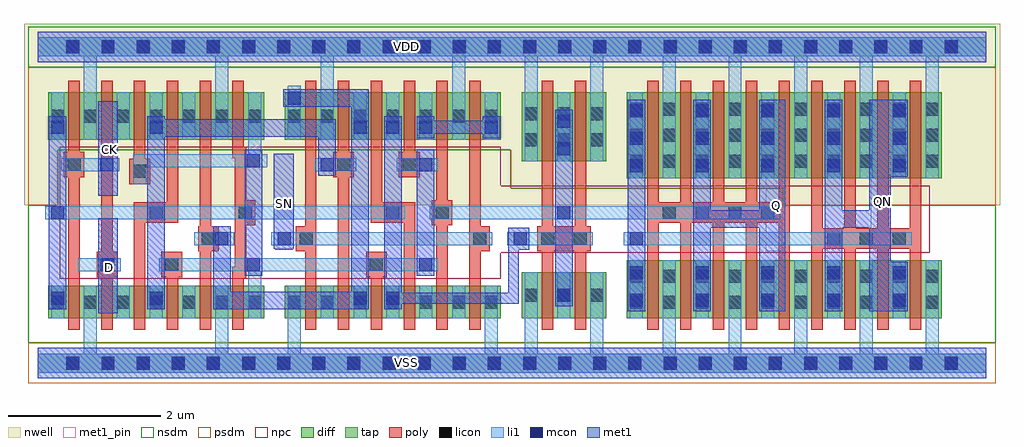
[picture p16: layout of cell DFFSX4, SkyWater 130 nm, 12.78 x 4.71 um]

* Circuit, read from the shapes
.subckt DFFSX4 CK D Q QN SN VDD VSS
XM1 VSS CK n1 VSS sky130_fd_pr__nfet_01v8 w=0.425 l=0.15
XM2 n2 D VSS VSS sky130_fd_pr__nfet_01v8 w=0.425 l=0.15
XM3 n3 n1 n2 VSS sky130_fd_pr__nfet_01v8 w=0.425 l=0.15
XM4 n4 n5 n3 VSS sky130_fd_pr__nfet_01v8 w=0.425 l=0.15
XM5 VSS n6 n4 VSS sky130_fd_pr__nfet_01v8 w=0.425 l=0.15
XM6 n5 n1 VSS VSS sky130_fd_pr__nfet_01v8 w=0.425 l=0.15
XM7 n7 SN VSS VSS sky130_fd_pr__nfet_01v8 w=0.425 l=0.15
XM8 n6 n3 n7 VSS sky130_fd_pr__nfet_01v8 w=0.425 l=0.15
XM9 n8 n5 n6 VSS sky130_fd_pr__nfet_01v8 w=0.425 l=0.15
XM10 n9 n1 n8 VSS sky130_fd_pr__nfet_01v8 w=0.425 l=0.15
XM11 n10 n11 n9 VSS sky130_fd_pr__nfet_01v8 w=0.425 l=0.15
XM12 VSS SN n10 VSS sky130_fd_pr__nfet_01v8 w=0.425 l=0.15
XM13 n11 n8 VSS VSS sky130_fd_pr__nfet_01v8 w=0.6 l=0.15 m=2
XM14 VSS n11 n12 VSS sky130_fd_pr__nfet_01v8 w=0.76 l=0.15
XM15 Q n11 VSS VSS sky130_fd_pr__nfet_01v8 w=0.76 l=0.15 m=4
XM16 QN n12 VSS VSS sky130_fd_pr__nfet_01v8 w=0.76 l=0.15 m=4
XM17 VDD CK n1 VDD sky130_fd_pr__pfet_01v8 w=0.625 l=0.15
XM18 n13 D VDD VDD sky130_fd_pr__pfet_01v8 w=0.625 l=0.15
XM19 n3 n5 n13 VDD sky130_fd_pr__pfet_01v8 w=0.625 l=0.15
XM20 n14 n1 n3 VDD sky130_fd_pr__pfet_01v8 w=0.625 l=0.15
XM21 VDD n6 n14 VDD sky130_fd_pr__pfet_01v8 w=0.625 l=0.15
XM22 n5 n1 VDD VDD sky130_fd_pr__pfet_01v8 w=0.625 l=0.15
XM23 VDD SN n6 VDD sky130_fd_pr__pfet_01v8 w=0.625 l=0.15
XM24 n6 n3 VDD VDD sky130_fd_pr__pfet_01v8 w=0.625 l=0.15
XM25 n8 n1 n6 VDD sky130_fd_pr__pfet_01v8 w=0.625 l=0.15
XM26 n15 n5 n8 VDD sky130_fd_pr__pfet_01v8 w=0.625 l=0.15
XM27 VDD n11 n15 VDD sky130_fd_pr__pfet_01v8 w=0.625 l=0.15
XM28 n15 SN VDD VDD sky130_fd_pr__pfet_01v8 w=0.625 l=0.15
XM29 n11 n8 VDD VDD sky130_fd_pr__pfet_01v8 w=0.905 l=0.15 m=2
XM30 VDD n11 n12 VDD sky130_fd_pr__pfet_01v8 w=1.13 l=0.15
XM31 Q n11 VDD VDD sky130_fd_pr__pfet_01v8 w=1.13 l=0.15 m=4
XM32 QN n12 VDD VDD sky130_fd_pr__pfet_01v8 w=1.13 l=0.15 m=4
.ends

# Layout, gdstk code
from math import pi, radians
import gdstk
lib = gdstk.Library(unit=1e-6, precision=1e-09)
def R(c, l, rs):  # rectangles x0, y0, x1, y1
    for r in rs: c.add(gdstk.rectangle(r[:2], r[2:], *l))
def A(c, l, x, y, w, h, nx, ny, dx, dy):  # array of equal rectangles
    R(c, l, [(x+i*dx, y+j*dy, x+i*dx+w, y+j*dy+h) for i in range(nx) for j in range(ny)])
def P(c, l, *ps):  # polygons
    for p in ps: c.add(gdstk.Polygon(p, *l))
nwell = (64, 20)
diff = (65, 20)
tap = (65, 44)
poly = (66, 20)
licon = (66, 44)
li1 = (67, 20)
mcon = (67, 44)
met1_pin = (68, 16)
met1 = (68, 20)
nsdm = (93, 44)
psdm = (94, 20)
npc = (95, 20)

licondiff_c_cdns_7515547 = lib.new_cell('LICONDIFF_C_CDNS_751554744755')
R(licondiff_c_cdns_7515547, diff, [(-0.125,-0.145,0.125,0.145)])
R(licondiff_c_cdns_7515547, licon, [(-0.085,-0.085,0.085,0.085), (-0.085,-0.085,0.085,0.085)])

pyl1con_c_cdns_751554744 = lib.new_cell('PYL1CON_C_CDNS_751554744751')
R(pyl1con_c_cdns_751554744, poly, [(-0.135,-0.165,0.135,0.165)])
R(pyl1con_c_cdns_751554744, licon, [(-0.085,-0.085,0.085,0.085)])
R(pyl1con_c_cdns_751554744, npc, [(-0.185,-0.185,0.185,0.185)])

c_pyl1con_c_cdns_751554744 = lib.new_cell('PYL1CON_C_CDNS_751554744754')
R(c_pyl1con_c_cdns_751554744, poly, [(-0.135,-0.29,0.135,0.29)])
R(c_pyl1con_c_cdns_751554744, licon, [(-0.085,-0.085,0.085,0.085)])
R(c_pyl1con_c_cdns_751554744, npc, [(-0.185,-0.185,0.185,0.185)])

l1m1_c_cdns_751554744750 = lib.new_cell('L1M1_C_CDNS_751554744750$$20')
R(l1m1_c_cdns_751554744750, li1, [(-0.125,-0.085,0.125,0.085)])
R(l1m1_c_cdns_751554744750, mcon, [(-0.085,-0.085,0.085,0.085)])
R(l1m1_c_cdns_751554744750, met1, [(-0.115,-0.145,0.115,0.145)])

c_l1m1_c_cdns_751554744750 = lib.new_cell('L1M1_C_CDNS_751554744750$$8')
R(c_l1m1_c_cdns_751554744750, li1, [(-0.085,-0.165,0.085,0.165)])
R(c_l1m1_c_cdns_751554744750, mcon, [(-0.085,-0.085,0.085,0.085)])
R(c_l1m1_c_cdns_751554744750, met1, [(-0.115,-0.145,0.115,0.145)])

c_l1m1_c_cdns_751554744750_ = lib.new_cell('L1M1_C_CDNS_751554744750$$9')
R(c_l1m1_c_cdns_751554744750_, li1, [(-0.165,-0.085,0.165,0.085)])
R(c_l1m1_c_cdns_751554744750_, mcon, [(-0.085,-0.085,0.085,0.085)])
R(c_l1m1_c_cdns_751554744750_, met1, [(-0.115,-0.145,0.115,0.145)])

c_l1m1_c_cdns_751554744750__ = lib.new_cell('L1M1_C_CDNS_751554744750$$11')
R(c_l1m1_c_cdns_751554744750__, li1, [(-0.085,-0.525,0.085,0.525)])
A(c_l1m1_c_cdns_751554744750__, mcon, -0.085, -0.445, 0.17, 0.17, 1, 3, 0, 0.36)
R(c_l1m1_c_cdns_751554744750__, met1, [(-0.115,-0.505,0.115,0.505)])

c_l1m1_c_cdns_751554744750___ = lib.new_cell('L1M1_C_CDNS_751554744750$$7')
R(c_l1m1_c_cdns_751554744750___, li1, [(-0.085,-0.345,0.085,0.345)])
R(c_l1m1_c_cdns_751554744750___, mcon, [(-0.085,-0.265,0.085,-0.095), (-0.085,0.095,0.085,0.265)])
R(c_l1m1_c_cdns_751554744750___, met1, [(-0.115,-0.325,0.115,0.325)])

c_l1m1_c_cdns_751554744750____ = lib.new_cell('L1M1_C_CDNS_751554744750$$19')
R(c_l1m1_c_cdns_751554744750____, li1, [(-0.085,-0.085,0.085,0.085)])
R(c_l1m1_c_cdns_751554744750____, mcon, [(-0.085,-0.085,0.085,0.085)])
R(c_l1m1_c_cdns_751554744750____, met1, [(-0.115,-0.145,0.115,0.145)])

c_l1m1_c_cdns_751554744750_____ = lib.new_cell('L1M1_C_CDNS_751554744750$$13')
R(c_l1m1_c_cdns_751554744750_____, li1, [(-0.085,-0.165,0.085,0.165)])
R(c_l1m1_c_cdns_751554744750_____, mcon, [(-0.085,-0.085,0.085,0.085)])
R(c_l1m1_c_cdns_751554744750_____, met1, [(-0.145,-0.115,0.145,0.115)])

dffsx4 = lib.new_cell('DFFSX4')
R(dffsx4, nwell, [(-0.18,2.07,12.6,4.445)])
R(dffsx4, diff, [(0.135,0.59,2.965,1.015), (3.235,0.59,6.065,1.015), (6.335,0.59,7.445,1.19), (7.715,0.59,11.835,1.35), (7.715,2.42,11.835,3.55), (6.335,2.645,7.445,3.55), (0.135,2.925,2.965,3.55), (3.235,2.925,6.065,3.55)])
A(dffsx4, poly, 7.98, 0.44, 0.15, 3.26, 9, 1, 0.43, 0)
R(dffsx4, poly, [(0.4,0.44,0.55,3.7), (0.83,0.44,0.98,3.7), (1.69,0.44,1.84,1.165), (2.12,0.44,2.27,3.7), (3.5,0.44,3.65,3.7), (3.93,0.44,4.08,3.7), (4.36,0.44,4.51,1.165), (5.22,0.44,5.37,3.7), (5.65,0.44,5.8,3.7), (1.26,2.51,1.41,3.7), (4.79,2.765,4.94,3.7)])
P(dffsx4, poly, [(1.84,3.7),(1.69,3.7),(1.69,2.045),(1.26,2.045),(1.26,0.44),(1.41,0.44),(1.41,1.895),(1.84,1.895)],
  [(2.73,2.83),(2.7,2.83),(2.7,3.7),(2.55,3.7),(2.55,2.68),(2.58,2.68),(2.58,1.26),(2.55,1.26),(2.55,0.44),(2.7,0.44),(2.7,1.11),(2.73,1.11)],
  [(4.94,2.045),(4.51,2.045),(4.51,3.7),(4.36,3.7),(4.36,1.895),(4.79,1.895),(4.79,0.44),(4.94,0.44)],
  [(7.24,1.795),(7.18,1.795),(7.18,3.7),(7.03,3.7),(7.03,1.795),(6.75,1.795),(6.75,3.7),(6.6,3.7),(6.6,1.795),(6.54,1.795),(6.54,1.465),(6.6,1.465),(6.6,0.44),(6.75,0.44),(6.75,1.465),(7.03,1.465),(7.03,0.44),(7.18,0.44),(7.18,1.465),(7.24,1.465)])
A(dffsx4, licon, 0.375, -0.085, 0.17, 0.17, 26, 2, 0.46, 4.14)
A(dffsx4, licon, 0.605, 0.715, 0.17, 0.17, 3, 2, 0.86, 2.435)
A(dffsx4, licon, 7.755, 0.715, 0.17, 0.17, 10, 2, 0.43, 0.34)
A(dffsx4, licon, 6.375, 0.805, 0.17, 0.17, 3, 2, 0.43, 2.035)
A(dffsx4, licon, 7.755, 2.56, 0.17, 0.17, 10, 3, 0.43, 0.34)
A(dffsx4, licon, 3.275, 3.15, 0.17, 0.17, 7, 1, 0.43, 0)
A(dffsx4, licon, 6.375, 3.18, 0.17, 0.17, 3, 1, 0.43, 0)
R(dffsx4, licon, [(0.175,0.715,0.345,0.885), (2.755,0.715,2.925,0.885), (3.275,0.715,3.445,0.885), (4.135,0.715,4.305,0.885), (4.565,0.715,4.735,0.885), (5.855,0.715,6.025,0.885), (0.175,3.15,0.345,3.32), (2.755,3.15,2.925,3.32)])
A(dffsx4, li1, 7.755, 0.59, 0.17, 0.76, 5, 1, 0.86, 0)
A(dffsx4, li1, 7.755, 2.42, 0.17, 1.13, 5, 1, 0.86, 0)
A(dffsx4, li1, 4.135, 2.925, 0.17, 0.625, 3, 1, 0.43, 0)
R(dffsx4, li1, [(0.175,0.59,0.345,1.015), (1.465,0.59,1.635,1.015), (4.135,0.59,4.305,1.015), (4.565,0.59,4.735,1.015), (6.805,0.59,6.975,1.19), (0.31,2.515,0.855,2.685), (6.805,2.645,6.975,3.55), (0.175,2.925,0.345,3.55), (1.465,2.925,1.635,3.55), (3.275,2.925,3.445,3.55), (5.855,2.925,6.025,3.55)])
P(dffsx4, li1, [(3.005,2.735),(2.925,2.735),(2.925,3.55),(2.755,3.55),(2.755,2.735),(1.25,2.735),(1.25,2.345),(1.42,2.345),(1.42,2.565),(3.005,2.565)],
  [(5.245,1.375),(1.59,1.375),(1.59,1.205),(2.755,1.205),(2.755,0.59),(2.925,0.59),(2.925,1.205),(5.245,1.205)],
  [(12.42,4.265),(0,4.265),(0,4.015),(0.605,4.015),(0.605,2.925),(0.775,2.925),(0.775,4.015),(2.325,4.015),(2.325,2.925),(2.495,2.925),(2.495,4.015),(3.705,4.015),(3.705,2.925),(3.875,2.925),(3.875,4.015),(5.425,4.015),(5.425,2.925),(5.595,2.925),(5.595,4.015),(6.375,4.015),(6.375,2.645),(6.545,2.645),(6.545,4.015),(7.235,4.015),(7.235,2.645),(7.405,2.645),(7.405,4.015),(8.185,4.015),(8.185,2.42),(8.355,2.42),(8.355,4.015),(9.045,4.015),(9.045,2.42),(9.215,2.42),(9.215,4.015),(9.905,4.015),(9.905,2.42),(10.075,2.42),(10.075,4.015),(10.765,4.015),(10.765,2.42),(10.935,2.42),(10.935,4.015),(11.625,4.015),(11.625,2.42),(11.795,2.42),(11.795,4.015),(12.42,4.015)],
  [(12.42,0.125),(11.795,0.125),(11.795,1.35),(11.625,1.35),(11.625,0.125),(10.935,0.125),(10.935,1.35),(10.765,1.35),(10.765,0.125),(10.075,0.125),(10.075,1.35),(9.905,1.35),(9.905,0.125),(9.215,0.125),(9.215,1.35),(9.045,1.35),(9.045,0.125),(8.355,0.125),(8.355,1.35),(8.185,1.35),(8.185,0.125),(7.405,0.125),(7.405,1.19),(7.235,1.19),(7.235,0.125),(6.545,0.125),(6.545,1.19),(6.375,1.19),(6.375,0.125),(6.025,0.125),(6.025,1.015),(5.855,1.015),(5.855,0.125),(3.445,0.125),(3.445,1.015),(3.275,1.015),(3.275,0.125),(2.495,0.125),(2.495,1.015),(2.325,1.015),(2.325,0.125),(0.775,0.125),(0.775,1.015),(0.605,1.015),(0.605,0.125),(0,0.125),(0,-0.125),(12.42,-0.125)])
A(dffsx4, mcon, 0.375, -0.085, 0.17, 0.17, 26, 2, 0.46, 4.14)
R(dffsx4, met1_pin, [(0.79,0.655,1.05,1.895), (9.53,1.465,9.79,2.705), (3.09,1.5,3.35,2.74), (10.91,1.52,11.17,2.76), (0.79,2.19,1.05,3.43)])
P(dffsx4, met1, [(11.17,3.45),(10.885,3.45),(10.885,2),(10.535,2),(10.535,3.45),(10.305,3.45),(10.305,0.68),(10.535,0.68),(10.535,1.77),(10.885,1.77),(10.885,0.68),(11.17,0.68)],
  [(9.79,3.45),(9.445,3.45),(9.445,2),(8.815,2),(8.815,3.45),(8.585,3.45),(8.585,0.68),(8.815,0.68),(8.815,1.77),(9.445,1.77),(9.445,0.68),(9.79,0.68)],
  [(6.3,1.775),(6.16,1.775),(6.16,0.92),(4.765,0.92),(4.765,3.235),(4.535,3.235),(4.535,0.705),(4.765,0.705),(4.765,0.78),(6.3,0.78)])
R(dffsx4, nsdm, [(-0.125,3.875,12.545,4.405)])
P(dffsx4, nsdm, [(12.545,2.07),(9.765,2.07),(9.765,2.29),(6.195,2.29),(6.195,2.795),(0.265,2.795),(0.265,2.07),(-0.125,2.07),(-0.125,0.265),(12.545,0.265)])
R(dffsx4, psdm, [(-0.125,-0.265,12.545,0.265)])
P(dffsx4, psdm, [(12.545,3.875),(-0.125,3.875),(-0.125,2.07),(0.265,2.07),(0.265,2.795),(6.195,2.795),(6.195,2.29),(9.765,2.29),(9.765,2.07),(12.545,2.07)])
P(dffsx4, npc, [(11.68,2.325),(6.065,2.325),(6.065,2.835),(0.29,2.835),(0.29,1.105),(6.065,1.105),(6.065,1.445),(11.68,1.445)])
dffsx4.add(gdstk.FlexPath([(3.79,0.59),(3.79,1.015)], 0.17, ends="flush", simple_path=True, layer=67, datatype=20))  # li1
dffsx4.add(gdstk.FlexPath([(7.675,1.63),(11.445,1.63)], 0.17, ends="flush", simple_path=True, layer=67, datatype=20))  # li1
dffsx4.add(gdstk.FlexPath([(5.13,1.97),(9.725,1.97)], 0.17, ends="flush", simple_path=True, layer=67, datatype=20))  # li1
dffsx4.add(gdstk.FlexPath([(0.525,1.29),(1.07,1.29)], 0.17, ends="flush", simple_path=True, layer=67, datatype=20))  # li1
dffsx4.add(gdstk.FlexPath([(5.95,1.63),(3.105,1.63)], 0.17, ends="flush", simple_path=True, layer=67, datatype=20))  # li1
dffsx4.add(gdstk.FlexPath([(6.145,1.63),(7.27,1.63)], 0.17, ends="flush", simple_path=True, layer=67, datatype=20))  # li1
dffsx4.add(gdstk.FlexPath([(2.575,1.63),(2.05,1.63)], 0.17, ends="flush", simple_path=True, layer=67, datatype=20))  # li1
dffsx4.add(gdstk.FlexPath([(5.51,0.59),(5.51,1.015)], 0.17, ends="flush", simple_path=True, layer=67, datatype=20))  # li1
dffsx4.add(gdstk.FlexPath([(5.08,0.59),(5.08,1.015)], 0.17, ends="flush", simple_path=True, layer=67, datatype=20))  # li1
dffsx4.add(gdstk.FlexPath([(1.98,2.925),(1.98,3.55)], 0.17, ends="flush", simple_path=True, layer=67, datatype=20))  # li1
dffsx4.add(gdstk.FlexPath([(1.98,0.59),(1.98,1.015)], 0.17, ends="flush", simple_path=True, layer=67, datatype=20))  # li1
dffsx4.add(gdstk.FlexPath([(0.095,1.97),(4.815,1.97)], 0.17, ends="flush", simple_path=True, layer=67, datatype=20))  # li1
dffsx4.add(gdstk.FlexPath([(3.625,2.6),(4.17,2.6)], 0.17, ends="flush", simple_path=True, layer=67, datatype=20))  # li1
dffsx4.add(gdstk.FlexPath([(1.12,2.925),(1.12,3.55)], 0.17, ends="flush", simple_path=True, layer=67, datatype=20))  # li1
dffsx4.add(gdstk.FlexPath([(1.12,0.59),(1.12,1.015)], 0.17, ends="flush", simple_path=True, layer=67, datatype=20))  # li1
dffsx4.add(gdstk.FlexPath([(4.7,2.6),(5.245,2.6)], 0.17, ends="flush", simple_path=True, layer=67, datatype=20))  # li1
dffsx4.add(gdstk.FlexPath([(0,0),(12.42,0)], 0.25, ends="flush", simple_path=True, layer=65, datatype=44))  # tap
dffsx4.add(gdstk.FlexPath([(0,4.14),(12.42,4.14)], 0.25, ends="flush", simple_path=True, layer=65, datatype=44))  # tap
dffsx4.add(gdstk.FlexPath([(2.825,1.145),(2.825,2.795)], 0.23, ends="flush", simple_path=True, layer=68, datatype=20))  # met1
dffsx4.add(gdstk.FlexPath([(0,4.14),(12.42,4.14)], 0.4, ends="flush", simple_path=True, layer=68, datatype=20))  # met1
dffsx4.add(gdstk.FlexPath([(0.26,0.705),(0.26,3.235)], 0.23, ends="flush", simple_path=True, layer=68, datatype=20))  # met1
dffsx4.add(gdstk.FlexPath([(0.92,0.655),(0.92,1.895)], 0.26, ends="flush", simple_path=True, layer=68, datatype=20))  # met1
dffsx4.add(gdstk.FlexPath([(4.965,3.09),(6.055,3.09)], 0.17, ends="flush", simple_path=True, layer=68, datatype=20))  # met1
dffsx4.add(gdstk.FlexPath([(7.84,0.68),(7.84,3.45)], 0.23, ends="flush", simple_path=True, layer=68, datatype=20))  # met1
dffsx4.add(gdstk.FlexPath([(3.22,1.5),(3.22,2.74)], 0.26, ends="flush", simple_path=True, layer=68, datatype=20))  # met1
dffsx4.add(gdstk.FlexPath([(0.92,2.19),(0.92,3.43)], 0.26, ends="flush", simple_path=True, layer=68, datatype=20))  # met1
dffsx4.add(gdstk.FlexPath([(6.89,0.745),(6.89,3.315)], 0.23, ends="flush", simple_path=True, layer=68, datatype=20))  # met1
dffsx4.add(gdstk.FlexPath([(5.08,1.145),(5.08,2.795)], 0.23, ends="flush", simple_path=True, layer=68, datatype=20))  # met1
dffsx4.add(gdstk.FlexPath([(1.55,0.705),(1.55,3.08),(3.79,3.08),(3.79,2.505)], 0.23, ends="flush", simple_path=True, layer=68, datatype=20))  # met1
dffsx4.add(gdstk.FlexPath([(0,0),(12.42,0)], 0.4, ends="flush", simple_path=True, layer=68, datatype=20))  # met1
dffsx4.add(gdstk.FlexPath([(2.41,1.795),(2.41,0.82),(4.22,0.82),(4.22,3.47),(3.215,3.47)], 0.23, ends="flush", simple_path=True, layer=68, datatype=20))  # met1
dffsx4.add(gdstk.FlexPath([(0,0),(12.42,0)], 0.4, ends="flush", simple_path=True, layer=68, datatype=16))  # met1_pin
dffsx4.add(gdstk.FlexPath([(0,4.14),(12.42,4.14)], 0.4, ends="flush", simple_path=True, layer=68, datatype=16))  # met1_pin
dffsx4.add(gdstk.Reference(licondiff_c_cdns_7515547, (1.98,0.8)))
dffsx4.add(gdstk.Reference(licondiff_c_cdns_7515547, (5.51,0.8)))
dffsx4.add(gdstk.Reference(licondiff_c_cdns_7515547, (5.08,0.8)))
dffsx4.add(gdstk.Reference(licondiff_c_cdns_7515547, (3.79,0.8)))
dffsx4.add(gdstk.Reference(licondiff_c_cdns_7515547, (1.98,3.235)))
dffsx4.add(gdstk.Reference(licondiff_c_cdns_7515547, (1.12,3.235)))
dffsx4.add(gdstk.Reference(licondiff_c_cdns_7515547, (1.12,0.8)))
dffsx4.add(gdstk.Reference(pyl1con_c_cdns_751554744, (10.42,1.63), rotation=pi/2, x_reflection=True))
dffsx4.add(gdstk.Reference(pyl1con_c_cdns_751554744, (10.85,1.63), rotation=pi/2, x_reflection=True))
dffsx4.add(gdstk.Reference(pyl1con_c_cdns_751554744, (11.28,1.63), rotation=pi/2, x_reflection=True))
dffsx4.add(gdstk.Reference(pyl1con_c_cdns_751554744, (9.56,1.97), rotation=pi/2, x_reflection=True))
dffsx4.add(gdstk.Reference(pyl1con_c_cdns_751554744, (8.7,1.97), rotation=pi/2, x_reflection=True))
dffsx4.add(gdstk.Reference(pyl1con_c_cdns_751554744, (9.13,1.97), rotation=pi/2, x_reflection=True))
dffsx4.add(gdstk.Reference(pyl1con_c_cdns_751554744, (8.27,1.97), rotation=pi/2, x_reflection=True))
dffsx4.add(gdstk.Reference(pyl1con_c_cdns_751554744, (2.235,1.63), rotation=pi))
dffsx4.add(gdstk.Reference(pyl1con_c_cdns_751554744, (3.515,1.63), x_reflection=True))
dffsx4.add(gdstk.Reference(pyl1con_c_cdns_751554744, (0.475,2.6), rotation=pi))
dffsx4.add(gdstk.Reference(pyl1con_c_cdns_751554744, (0.905,1.29), x_reflection=True))
dffsx4.add(gdstk.Reference(pyl1con_c_cdns_751554744, (2.715,1.97)))
dffsx4.add(gdstk.Reference(pyl1con_c_cdns_751554744, (5.785,1.63), x_reflection=True))
dffsx4.add(gdstk.Reference(pyl1con_c_cdns_751554744, (5.295,1.97), rotation=pi, x_reflection=True))
dffsx4.add(gdstk.Reference(pyl1con_c_cdns_751554744, (4.435,1.29), x_reflection=True))
dffsx4.add(gdstk.Reference(pyl1con_c_cdns_751554744, (1.755,1.29), x_reflection=True))
dffsx4.add(gdstk.Reference(pyl1con_c_cdns_751554744, (1.335,2.51), rotation=pi))
dffsx4.add(gdstk.Reference(pyl1con_c_cdns_751554744, (4.865,2.6), rotation=pi))
dffsx4.add(gdstk.Reference(pyl1con_c_cdns_751554744, (6.675,1.63), rotation=pi, x_reflection=True))
dffsx4.add(gdstk.Reference(pyl1con_c_cdns_751554744, (4.005,2.6), rotation=pi))
dffsx4.add(gdstk.Reference(pyl1con_c_cdns_751554744, (7.105,1.63), rotation=pi, x_reflection=True))
dffsx4.add(gdstk.Reference(c_pyl1con_c_cdns_751554744, (1.55,1.97), rotation=pi/2, x_reflection=True))
dffsx4.add(gdstk.Reference(c_pyl1con_c_cdns_751554744, (4.65,1.97), rotation=pi/2))
dffsx4.add(gdstk.Reference(l1m1_c_cdns_751554744750, (3.79,2.6), rotation=pi, x_reflection=True))
dffsx4.add(gdstk.Reference(c_l1m1_c_cdns_751554744750, (4.65,3.09), rotation=pi, x_reflection=True))
dffsx4.add(gdstk.Reference(c_l1m1_c_cdns_751554744750, (4.65,0.85), rotation=pi, x_reflection=True))
dffsx4.add(gdstk.Reference(c_l1m1_c_cdns_751554744750, (5.08,3.09), rotation=pi, x_reflection=True))
dffsx4.add(gdstk.Reference(c_l1m1_c_cdns_751554744750, (6.89,0.89), rotation=pi, x_reflection=True))
dffsx4.add(gdstk.Reference(c_l1m1_c_cdns_751554744750, (0.26,3.09), rotation=pi, x_reflection=True))
dffsx4.add(gdstk.Reference(c_l1m1_c_cdns_751554744750, (0.26,0.85), rotation=pi, x_reflection=True))
dffsx4.add(gdstk.Reference(c_l1m1_c_cdns_751554744750, (5.94,3.09), rotation=pi, x_reflection=True))
dffsx4.add(gdstk.Reference(c_l1m1_c_cdns_751554744750, (4.22,0.85), rotation=pi, x_reflection=True))
dffsx4.add(gdstk.Reference(c_l1m1_c_cdns_751554744750, (4.22,3.09), rotation=pi, x_reflection=True))
dffsx4.add(gdstk.Reference(c_l1m1_c_cdns_751554744750, (1.55,3.09), rotation=pi, x_reflection=True))
dffsx4.add(gdstk.Reference(c_l1m1_c_cdns_751554744750, (1.55,0.85), rotation=pi, x_reflection=True))
dffsx4.add(gdstk.Reference(c_l1m1_c_cdns_751554744750_, (0.92,1.29), x_reflection=True))
dffsx4.add(gdstk.Reference(c_l1m1_c_cdns_751554744750_, (7.84,1.63), x_reflection=True))
dffsx4.add(gdstk.Reference(c_l1m1_c_cdns_751554744750_, (3.225,1.63), x_reflection=True))
dffsx4.add(gdstk.Reference(c_l1m1_c_cdns_751554744750_, (0.26,1.97), rotation=pi, x_reflection=True))
dffsx4.add(gdstk.Reference(c_l1m1_c_cdns_751554744750_, (0.905,2.6), x_reflection=True))
dffsx4.add(gdstk.Reference(c_l1m1_c_cdns_751554744750_, (6.89,1.97), rotation=pi, x_reflection=True))
dffsx4.add(gdstk.Reference(c_l1m1_c_cdns_751554744750_, (2.825,1.29)))
dffsx4.add(gdstk.Reference(c_l1m1_c_cdns_751554744750_, (2.825,2.65)))
dffsx4.add(gdstk.Reference(c_l1m1_c_cdns_751554744750_, (2.41,1.63), rotation=pi, x_reflection=True))
dffsx4.add(gdstk.Reference(c_l1m1_c_cdns_751554744750_, (5.08,1.29)))
dffsx4.add(gdstk.Reference(c_l1m1_c_cdns_751554744750_, (5.08,2.6)))
dffsx4.add(gdstk.Reference(c_l1m1_c_cdns_751554744750__, (10.42,2.945)))
dffsx4.add(gdstk.Reference(c_l1m1_c_cdns_751554744750__, (11.28,2.945)))
dffsx4.add(gdstk.Reference(c_l1m1_c_cdns_751554744750__, (9.56,2.945)))
dffsx4.add(gdstk.Reference(c_l1m1_c_cdns_751554744750__, (8.7,2.945)))
dffsx4.add(gdstk.Reference(c_l1m1_c_cdns_751554744750__, (7.84,2.945)))
dffsx4.add(gdstk.Reference(c_l1m1_c_cdns_751554744750___, (10.42,1.005)))
dffsx4.add(gdstk.Reference(c_l1m1_c_cdns_751554744750___, (11.28,1.005)))
dffsx4.add(gdstk.Reference(c_l1m1_c_cdns_751554744750___, (9.56,1.005)))
dffsx4.add(gdstk.Reference(c_l1m1_c_cdns_751554744750___, (8.7,1.005)))
dffsx4.add(gdstk.Reference(c_l1m1_c_cdns_751554744750___, (7.84,1.005)))
dffsx4.add(gdstk.Reference(c_l1m1_c_cdns_751554744750___, (6.89,2.99), rotation=pi, x_reflection=True))
dffsx4.add(gdstk.Reference(c_l1m1_c_cdns_751554744750____, (6.32,1.63)))
dffsx4.add(gdstk.Reference(c_l1m1_c_cdns_751554744750_____, (3.36,3.47), rotation=pi, x_reflection=True))
dffsx4.add(gdstk.Label('VSS', (4.825,0.005), layer=68, texttype=5))
dffsx4.add(gdstk.Label('VDD', (4.825,4.145), layer=68, texttype=5))
dffsx4.add(gdstk.Label('D', (0.935,1.25), layer=68, texttype=5))
dffsx4.add(gdstk.Label('QN', (11.055,2.115), layer=68, texttype=5))
dffsx4.add(gdstk.Label('CK', (0.945,2.795), layer=68, texttype=5))
dffsx4.add(gdstk.Label('SN', (3.235,2.095), layer=68, texttype=5))
dffsx4.add(gdstk.Label('Q', (9.675,2.06), layer=68, texttype=5))

lib.write_gds('DFFSX4.gds')
